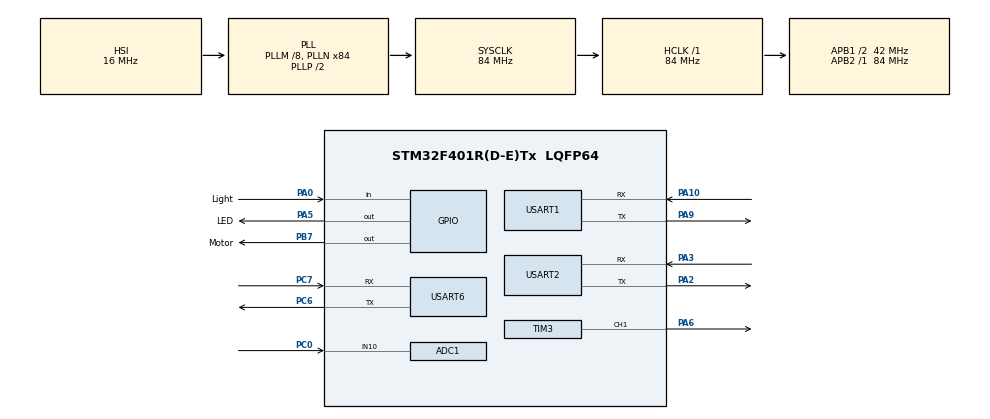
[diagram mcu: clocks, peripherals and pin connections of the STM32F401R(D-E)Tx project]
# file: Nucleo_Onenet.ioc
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ADC1.Channel-4\#ChannelRegularConversion=ADC_CHANNEL_10
ADC1.ClockPrescaler=ADC_CLOCK_SYNC_PCLK_DIV4
ADC1.ContinuousConvMode=DISABLE
ADC1.DMAContinuousRequests=DISABLE
ADC1.DataAlign=ADC_DATAALIGN_RIGHT
ADC1.DiscontinuousConvMode=DISABLE
ADC1.EOCSelection=ADC_EOC_SINGLE_CONV
ADC1.EnableAnalogWatchDog=false
ADC1.ExternalTrigConv=ADC_SOFTWARE_START
ADC1.ExternalTrigConvEdge=ADC_EXTERNALTRIGCONVEDGE_NONE
ADC1.InjNumberOfConversion=0
ADC1.NbrOfConversion=1
ADC1.NbrOfConversionFlag=1
ADC1.Rank-4\#ChannelRegularConversion=1
ADC1.Resolution=ADC_RESOLUTION_12B
ADC1.SamplingTime-4\#ChannelRegularConversion=ADC_SAMPLETIME_3CYCLES
ADC1.ScanConvMode=DISABLE
ADC1.master=1
Mcu.Family=STM32F4
Mcu.Name=STM32F401R(D-E)Tx
Mcu.Package=LQFP64
NVIC.PriorityGroup=NVIC_PRIORITYGROUP_4
NVIC.USART1_IRQn=true\:0\:0\:false\:false\:true\:true
NVIC.USART6_IRQn=true\:0\:0\:false\:false\:true\:true
PA0-WKUP.GPIO_Label=Light
PA0-WKUP.GPIO_PuPd=GPIO_NOPULL
PA0-WKUP.Signal=GPIO_Input
PA10.Mode=Asynchronous
PA10.Signal=USART1_RX
PA2.Mode=Asynchronous
PA2.Signal=USART2_TX
PA3.Mode=Asynchronous
PA3.Signal=USART2_RX
PA5.GPIO_Label=LED
PA5.GPIO_PuPd=GPIO_PULLUP
PA5.GPIO_Speed=GPIO_SPEED_FREQ_VERY_HIGH
PA5.PinState=GPIO_PIN_SET
PA5.Signal=GPIO_Output
PA6.Signal=S_TIM3_CH1
PA9.Mode=Asynchronous
PA9.Signal=USART1_TX
PB7.GPIO_Label=Motor
PB7.GPIO_PuPd=GPIO_NOPULL
PB7.GPIO_Speed=GPIO_SPEED_FREQ_VERY_HIGH
PB7.PinState=GPIO_PIN_SET
PB7.Signal=GPIO_Output
PC0.Signal=ADCx_IN10
PC6.Mode=Asynchronous
PC6.Signal=USART6_TX
PC7.Mode=Asynchronous
PC7.Signal=USART6_RX
ProjectManager.HeapSize=0x400
ProjectManager.StackSize=0x800
ProjectManager.TargetToolchain=MDK-ARM V5
RCC.48MHZClocksFreq_Value=42000000
RCC.AHBFreq_Value=84000000
RCC.APB1CLKDivider=RCC_HCLK_DIV2
RCC.APB1Freq_Value=42000000
RCC.APB1TimFreq_Value=84000000
RCC.APB2Freq_Value=84000000
RCC.APB2TimFreq_Value=84000000
RCC.CortexFreq_Value=84000000
RCC.HCLKFreq_Value=84000000
RCC.HSE_VALUE=25000000
RCC.HSI_VALUE=16000000
RCC.LSE_VALUE=32768
RCC.PLLM=8
RCC.PLLN=84
RCC.SYSCLKFreq_VALUE=84000000
RCC.SYSCLKSource=RCC_SYSCLKSOURCE_PLLCLK
RCC.VCOOutputFreq_Value=168000000
SH.ADCx_IN10.0=ADC1_IN10,IN10
SH.S_TIM3_CH1.0=TIM3_CH1,PWM Generation1 CH1
TIM3.Channel-PWM\ Generation1\ CH1=TIM_CHANNEL_1
TIM3.Period=999
TIM3.Prescaler=83
TIM3.Pulse-PWM\ Generation1\ CH1=500
USART1.VirtualMode=VM_ASYNC
USART2.VirtualMode=VM_ASYNC
USART6.VirtualMode=VM_ASYNC
VP_TIM3_VS_ClockSourceINT.Mode=Internal
board=Nucleo_Onenet

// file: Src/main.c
/**
  ******************************************************************************
  * File Name          : main.c
  * Description        : Main program body
  ******************************************************************************
  *
  * COPYRIGHT(c) 2017 STMicroelectronics
  *
  * Redistribution and use in source and binary forms, with or without modification,
  * are permitted provided that the following conditions are met:
  *   1. Redistributions of source code must retain the above copyright notice,
  *      this list of conditions and the following disclaimer.
  *   2. Redistributions in binary form must reproduce the above copyright notice,
  *      this list of conditions and the following disclaimer in the documentation
  *      and/or other materials provided with the distribution.
  *   3. Neither the name of STMicroelectronics nor the names of its contributors
  *      may be used to endorse or promote products derived from this software
  *      without specific prior written permission.
  *
  * THIS SOFTWARE IS PROVIDED BY THE COPYRIGHT HOLDERS AND CONTRIBUTORS "AS IS"
  * AND ANY EXPRESS OR IMPLIED WARRANTIES, INCLUDING, BUT NOT LIMITED TO, THE
  * IMPLIED WARRANTIES OF MERCHANTABILITY AND FITNESS FOR A PARTICULAR PURPOSE ARE
  * DISCLAIMED. IN NO EVENT SHALL THE COPYRIGHT HOLDER OR CONTRIBUTORS BE LIABLE
  * FOR ANY DIRECT, INDIRECT, INCIDENTAL, SPECIAL, EXEMPLARY, OR CONSEQUENTIAL
  * DAMAGES (INCLUDING, BUT NOT LIMITED TO, PROCUREMENT OF SUBSTITUTE GOODS OR
  * SERVICES; LOSS OF USE, DATA, OR PROFITS; OR BUSINESS INTERRUPTION) HOWEVER
  * CAUSED AND ON ANY THEORY OF LIABILITY, WHETHER IN CONTRACT, STRICT LIABILITY,
  * OR TORT (INCLUDING NEGLIGENCE OR OTHERWISE) ARISING IN ANY WAY OUT OF THE USE
  * OF THIS SOFTWARE, EVEN IF ADVISED OF THE POSSIBILITY OF SUCH DAMAGE.
  *
  ******************************************************************************
  */
  /* Includes ------------------------------------------------------------------*/
#include "main.h"
#include "stm32f4xx_hal.h"
#include "adc.h"
#include "tim.h"
#include "usart.h"
#include "gpio.h"

/* USER CODE BEGIN Includes */
#include "EdpKit.h"
#include "utils.h"
#include "esp8266.h"
#include "esp8266_io.h"
#include "EdpTask.h"
/* USER CODE END Includes */

/* USER CODE BEGIN PV */
/* Private variables ---------------------------------------------------------*/
volatile uint8_t Uart6_Rxdata;
/* USER CODE END PV */

void SystemClock_Config(void);
void Error_Handler(void);

/* USER CODE BEGIN PFP */
/* Private function prototypes -----------------------------------------------*/

/* USER CODE END PFP */

/* USER CODE BEGIN 0 */
void USER_PWM_SetDutyRatio(TIM_HandleTypeDef *htim, uint32_t Channel, uint8_t value)
{
	TIM_OC_InitTypeDef sConfigOC;

	uint32_t period = htim->Init.Period + 1;
	uint32_t pluse = (value * period) / 100;

	sConfigOC.OCMode = TIM_OCMODE_PWM1;
	sConfigOC.Pulse = pluse;
	sConfigOC.OCPolarity = TIM_OCPOLARITY_HIGH;
	sConfigOC.OCFastMode = TIM_OCFAST_DISABLE;
	HAL_TIM_PWM_ConfigChannel(htim, &sConfigOC, Channel);
	HAL_TIM_PWM_Start(htim, Channel);
}
/* USER CODE END 0 */

int main(void)
{

	/* MCU Configuration----------------------------------------------------------*/

	/* Reset of all peripherals, Initializes the Flash interface and the Systick. */
	HAL_Init();

	/* Configure the system clock */
	SystemClock_Config();

	/* Initialize all configured peripherals */
	MX_GPIO_Init();
	MX_USART1_UART_Init();
	MX_USART2_UART_Init();
	MX_ADC1_Init();
	MX_USART6_UART_Init();
	MX_TIM3_Init();

	/* USER CODE BEGIN 2 */
	//使能zigbee串口中断
	HAL_UART_Receive_IT(&huart6, (uint8_t *)&Uart6_Rxdata, 1);

	PrintLog("MCU Init\r\n");
	//接入热点
	NetworkInit();
	PrintLog("Press key to connect to onenet\r\n");
	//按键进行下一步
	while (1)
	{
		if (HAL_GPIO_ReadPin(KEY_GPIO_Port, KEY_Pin) == GPIO_PIN_RESET)
			break;
	}

	//配置透传
	OnenetInit();

	//任务开始
	EDP_Loop();
	/* USER CODE END 2 */

	/* Infinite loop */
	while (1)
	{

	}

}

/** System Clock Configuration
*/
void SystemClock_Config(void)
{

	RCC_OscInitTypeDef RCC_OscInitStruct;
	RCC_ClkInitTypeDef RCC_ClkInitStruct;

	/**Configure the main internal regulator output voltage
	*/
	__HAL_RCC_PWR_CLK_ENABLE();

	__HAL_PWR_VOLTAGESCALING_CONFIG(PWR_REGULATOR_VOLTAGE_SCALE2);

	/**Initializes the CPU, AHB and APB busses clocks
	*/
	RCC_OscInitStruct.OscillatorType = RCC_OSCILLATORTYPE_HSI;
	RCC_OscInitStruct.HSIState = RCC_HSI_ON;
	RCC_OscInitStruct.HSICalibrationValue = 16;
	RCC_OscInitStruct.PLL.PLLState = RCC_PLL_ON;
	RCC_OscInitStruct.PLL.PLLSource = RCC_PLLSOURCE_HSI;
	RCC_OscInitStruct.PLL.PLLM = 8;
	RCC_OscInitStruct.PLL.PLLN = 84;
	RCC_OscInitStruct.PLL.PLLP = RCC_PLLP_DIV2;
	RCC_OscInitStruct.PLL.PLLQ = 4;
	if (HAL_RCC_OscConfig(&RCC_OscInitStruct) != HAL_OK)
	{
		Error_Handler();
	}

	/**Initializes the CPU, AHB and APB busses clocks
	*/
	RCC_ClkInitStruct.ClockType = RCC_CLOCKTYPE_HCLK | RCC_CLOCKTYPE_SYSCLK
		| RCC_CLOCKTYPE_PCLK1 | RCC_CLOCKTYPE_PCLK2;
	RCC_ClkInitStruct.SYSCLKSource = RCC_SYSCLKSOURCE_PLLCLK;
	RCC_ClkInitStruct.AHBCLKDivider = RCC_SYSCLK_DIV1;
	RCC_ClkInitStruct.APB1CLKDivider = RCC_HCLK_DIV2;
	RCC_ClkInitStruct.APB2CLKDivider = RCC_HCLK_DIV1;

	if (HAL_RCC_ClockConfig(&RCC_ClkInitStruct, FLASH_LATENCY_2) != HAL_OK)
	{
		Error_Handler();
	}

	/**Configure the Systick interrupt time
	*/
	HAL_SYSTICK_Config(HAL_RCC_GetHCLKFreq() / 1000);

	/**Configure the Systick
	*/
	HAL_SYSTICK_CLKSourceConfig(SYSTICK_CLKSOURCE_HCLK);

	/* SysTick_IRQn interrupt configuration */
	HAL_NVIC_SetPriority(SysTick_IRQn, 0, 0);
}

void Error_Handler(void)
{
	while (1)
	{
	}
}

  /**
	* @}
  */

  /************************ (C) COPYRIGHT STMicroelectronics *****END OF FILE****/
